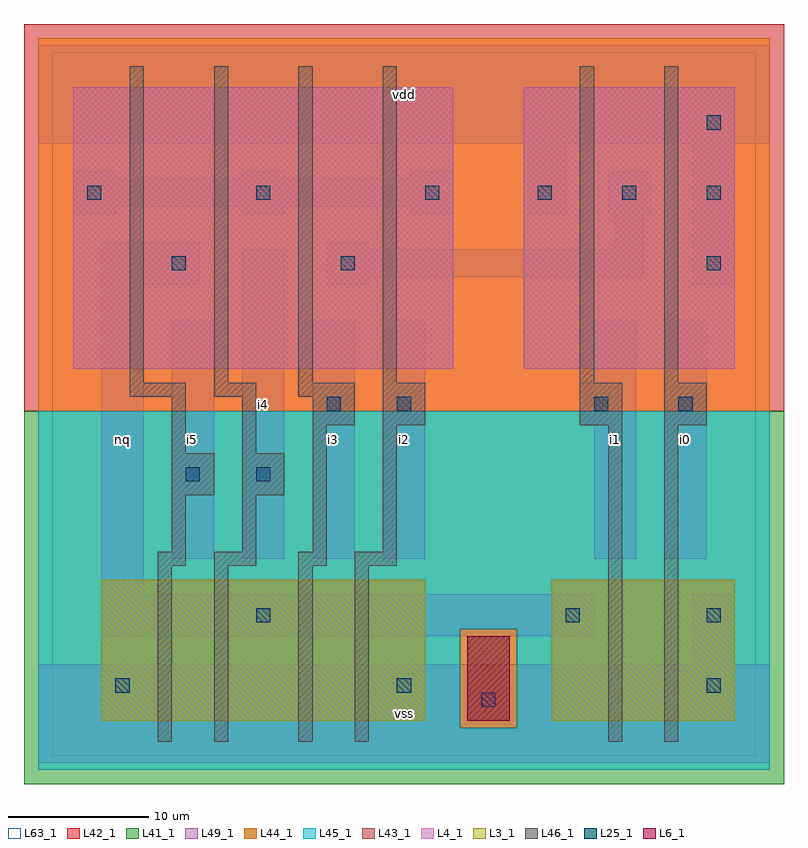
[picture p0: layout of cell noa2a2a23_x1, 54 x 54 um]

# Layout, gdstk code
import gdstk
lib = gdstk.Library(unit=1e-6, precision=1e-09)
def R(c, l, rs):  # rectangles x0, y0, x1, y1
    for r in rs: c.add(gdstk.rectangle(r[:2], r[2:], *l))
def A(c, l, x, y, w, h, nx, ny, dx, dy):  # array of equal rectangles
    R(c, l, [(x+i*dx, y+j*dy, x+i*dx+w, y+j*dy+h) for i in range(nx) for j in range(ny)])
L3_1 = (3, 1)
L4_1 = (4, 1)
L6_1 = (6, 1)
L25_1 = (25, 1)
L41_1 = (41, 1)
L42_1 = (42, 1)
L43_1 = (43, 1)
L44_1 = (44, 1)
L45_1 = (45, 1)
L46_1 = (46, 1)
L49_1 = (49, 1)
L63_1 = (63, 1)

noa2a2a23_x1 = lib.new_cell('noa2a2a23_x1')
R(noa2a2a23_x1, L3_1, [(3.5,2.5,26.5,12.5), (35.5,2.5,48.5,12.5)])
R(noa2a2a23_x1, L4_1, [(1.5,27.5,28.5,47.5), (33.5,27.5,48.5,47.5)])
R(noa2a2a23_x1, L6_1, [(29.5,2.5,32.5,8.5)])
A(noa2a2a23_x1, L25_1, 2.5, 39.5, 1, 1, 3, 1, 12, 0)
A(noa2a2a23_x1, L25_1, 34.5, 39.5, 1, 1, 3, 1, 6, 0)
R(noa2a2a23_x1, L25_1, [(30.5,3.5,31.5,4.5), (4.5,4.5,5.5,5.5), (24.5,4.5,25.5,5.5), (46.5,4.5,47.5,5.5), (14.5,9.5,15.5,10.5), (36.5,9.5,37.5,10.5), (46.5,9.5,47.5,10.5), (9.5,19.5,10.5,20.5), (14.5,19.5,15.5,20.5), (19.5,24.5,20.5,25.5), (24.5,24.5,25.5,25.5), (38.5,24.5,39.5,25.5), (44.5,24.5,45.5,25.5), (8.5,34.5,9.5,35.5), (20.5,34.5,21.5,35.5), (46.5,34.5,47.5,35.5), (46.5,44.5,47.5,45.5)])
R(noa2a2a23_x1, L41_1, [(-2,-2,52,24.5)])
R(noa2a2a23_x1, L42_1, [(-2,24.5,52,52)])
R(noa2a2a23_x1, L43_1, [(3.5,2.5,26.5,12.5), (29.5,2.5,32.5,8.5), (35.5,2.5,48.5,12.5), (1.5,27.5,28.5,47.5), (33.5,27.5,48.5,47.5)])
R(noa2a2a23_x1, L44_1, [(29,2,33,9), (-1,24.5,51,51)])
R(noa2a2a23_x1, L45_1, [(-1,-1,51,2), (-1,2,29,9), (33,2,51,9), (-1,9,51,24.5)])
A(noa2a2a23_x1, L46_1, 5.5, 26.5, 1, 22.5, 4, 1, 6, 0)
R(noa2a2a23_x1, L46_1, [(7.5,1,8.5,13.5), (11.5,1,12.5,13.5), (17.5,1,18.5,13.5), (21.5,1,22.5,13.5), (39.5,1,40.5,23.5), (43.5,1,44.5,23.5), (7.5,13.5,9.5,14.5), (11.5,13.5,14.5,14.5), (17.5,13.5,19.5,14.5), (21.5,13.5,24.5,14.5), (8.5,14.5,9.5,18.5), (13.5,14.5,14.5,18.5), (18.5,14.5,19.5,23.5), (23.5,14.5,24.5,23.5), (8.5,18.5,11.5,21.5), (13.5,18.5,16.5,21.5), (8.5,21.5,9.5,25.5), (13.5,21.5,14.5,25.5), (18.5,23.5,21.5,25.5), (23.5,23.5,26.5,26.5), (37.5,23.5,40.5,26.5), (43.5,23.5,46.5,26.5), (5.5,25.5,9.5,26.5), (11.5,25.5,14.5,26.5), (17.5,25.5,21.5,26.5), (37.5,26.5,38.5,49), (43.5,26.5,44.5,49)])
A(noa2a2a23_x1, L49_1, 1.5, 38.5, 3, 0.5, 3, 2, 12, 2.5)
R(noa2a2a23_x1, L49_1, [(-1,-0.5,51,6.5), (45.5,6.5,48.5,11.5), (3.5,8.5,38.5,11.5), (3.5,11.5,6.5,33.5), (8.5,14,11.5,31), (13.5,14,16.5,36), (18.5,14,21.5,31), (23.5,14,26.5,31), (38.5,14,41.5,23.5), (43.5,14,46.5,31), (37.5,23.5,41.5,26.5), (38.5,26.5,41.5,31), (3.5,33.5,10.5,36.5), (19.5,33.5,22.5,34), (45.5,33.5,48.5,43.5), (19.5,34,42,36), (19.5,36,22.5,36.5), (40,36,42,38.5), (33.5,38.5,36.5,43.5), (39.5,38.5,42.5,41.5), (1.5,39,28.5,41), (-1,43.5,51,50.5)])
R(noa2a2a23_x1, L63_1, [(0,0,50,50)])
noa2a2a23_x1.add(gdstk.Label('nq', (5,22.5), layer=49, texttype=1))
noa2a2a23_x1.add(gdstk.Label('i5', (10,22.5), layer=49, texttype=1))
noa2a2a23_x1.add(gdstk.Label('i5', (10,22.5), layer=49, texttype=1))
noa2a2a23_x1.add(gdstk.Label('nq', (5,22.5), layer=49, texttype=1))
noa2a2a23_x1.add(gdstk.Label('i3', (20,22.5), layer=49, texttype=1))
noa2a2a23_x1.add(gdstk.Label('i3', (20,22.5), layer=49, texttype=1))
noa2a2a23_x1.add(gdstk.Label('i4', (15,25), layer=49, texttype=1))
noa2a2a23_x1.add(gdstk.Label('i4', (15,25), layer=49, texttype=1))
noa2a2a23_x1.add(gdstk.Label('vss', (25,3), layer=49, texttype=1))
noa2a2a23_x1.add(gdstk.Label('vss', (25,3), layer=49, texttype=1))
noa2a2a23_x1.add(gdstk.Label('i2', (25,22.5), layer=49, texttype=1))
noa2a2a23_x1.add(gdstk.Label('i2', (25,22.5), layer=49, texttype=1))
noa2a2a23_x1.add(gdstk.Label('vdd', (25,47), layer=49, texttype=1))
noa2a2a23_x1.add(gdstk.Label('vdd', (25,47), layer=49, texttype=1))
noa2a2a23_x1.add(gdstk.Label('i1', (40,22.5), layer=49, texttype=1))
noa2a2a23_x1.add(gdstk.Label('i0', (45,22.5), layer=49, texttype=1))
noa2a2a23_x1.add(gdstk.Label('i0', (45,22.5), layer=49, texttype=1))
noa2a2a23_x1.add(gdstk.Label('i1', (40,22.5), layer=49, texttype=1))

lib.write_gds('noa2a2a23_x1.gds')
